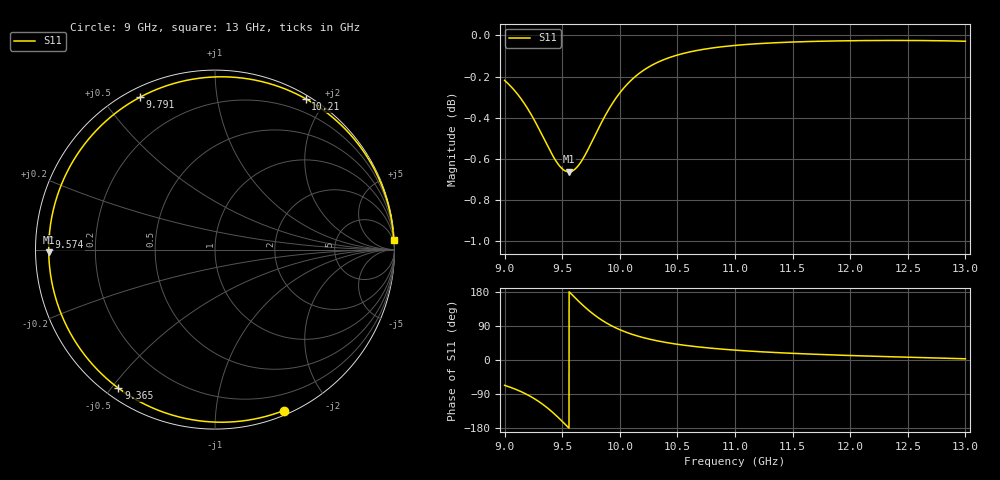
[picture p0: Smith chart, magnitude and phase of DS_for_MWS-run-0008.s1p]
! TOUCHSTONE file generated by CST DESIGN STUDIO
! Date and time: Tue Feb  4 12:48:01 2025
! Project name: C:\Work\MatlabApps\UnitCellOptimizationMatlab\CST\unitcell.cst
! Tree item: Tasks\Sweep1\SPara1\S-Parameters
! Header version: 2024
! Port assignment regex: !\s*Touchstone port\s*([0-9]+)\s*=\s*(CST MWS port|CST DES external port|CST DES block port)\s*(.+)\s* \(\"(.*)\"\)(\s*mode\s*([0-9]+))?.*
! Touchstone port assignment:
! Touchstone port 1 = CST DES external port 1 ("")
# GHz S MA R 50
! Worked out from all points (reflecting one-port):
!   4001 points, 9 GHz to 13 GHz, reference 50 ohm
!   lowest |S11| = -0.7 dB at 9.557 GHz (marker M1), VSWR 26.20, Z = 1.91 - j0.381 ohm
!   phase of S11 starts at -67 deg and turns -290 deg over the sweep
!   S11 on the Smith chart (normalised r, x): 9 GHz: 0.04, -1.51; 9.365 GHz: 0.04, -0.52; 9.574 GHz: 0.04, +0.04; 9.791 GHz: 0.04, +0.62; 10.21 GHz: 0.04, +1.77; 13 GHz: 2, +35
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9  0.9751 -66.9
9.041  0.9727 -71.1
9.107  0.9681 -78.7
9.219  0.9579 -95.1
9.296  0.9493 -109.5
9.365  0.9409 -124.9
9.43  0.9336 -141.7
9.5  0.9281 -161.8
9.557  0.9265 -179.1
9.574  0.9266 175.7
9.628  0.9289 159.3
9.689  0.9342 141.8
9.74  0.94 128.4
9.791  0.9463 116.3
9.836  0.9518 106.8
9.884  0.9573 97.7
9.938  0.9628 88.8
10  0.9683 80.0
10.098  0.9752 68.6
10.205  0.9806 59.0
10.34  0.9854 49.7
10.5  0.9891 41.5
10.721  0.9922 33.3
11  0.9944 26.1
11.5  0.9963 17.6
12  0.997 11.8
12.5  0.9972 7.3
13  0.9967 3.2
